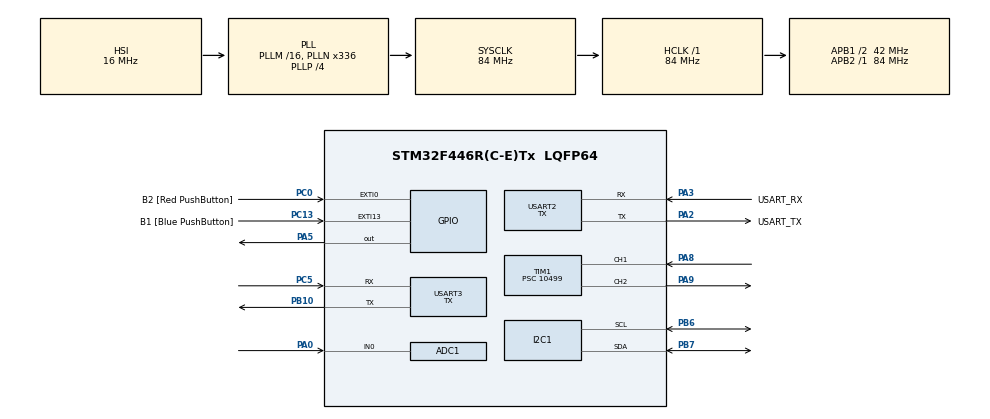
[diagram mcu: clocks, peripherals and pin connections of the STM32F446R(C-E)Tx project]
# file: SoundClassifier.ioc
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ADC1.Channel-0\#ChannelRegularConversion=ADC_CHANNEL_0
ADC1.ContinuousConvMode=DISABLE
ADC1.DMAContinuousRequests=ENABLE
ADC1.ExternalTrigConv=ADC_EXTERNALTRIGCONV_T1_CC2
ADC1.ExternalTrigConvEdge=ADC_EXTERNALTRIGCONVEDGE_RISING
ADC1.NbrOfConversion=1
ADC1.NbrOfConversionFlag=1
ADC1.Rank-0\#ChannelRegularConversion=1
ADC1.SamplingTime-0\#ChannelRegularConversion=ADC_SAMPLETIME_3CYCLES
ADC1.master=1
Dma.ADC1.0.Direction=DMA_PERIPH_TO_MEMORY
Dma.ADC1.0.FIFOMode=DMA_FIFOMODE_DISABLE
Dma.ADC1.0.Instance=DMA2_Stream4
Dma.ADC1.0.MemDataAlignment=DMA_MDATAALIGN_HALFWORD
Dma.ADC1.0.MemInc=DMA_MINC_ENABLE
Dma.ADC1.0.Mode=DMA_NORMAL
Dma.ADC1.0.PeriphDataAlignment=DMA_PDATAALIGN_HALFWORD
Dma.ADC1.0.PeriphInc=DMA_PINC_DISABLE
Dma.ADC1.0.Priority=DMA_PRIORITY_VERY_HIGH
Dma.Request0=ADC1
Dma.Request1=USART2_TX
Dma.Request2=USART3_TX
Dma.USART2_TX.1.Direction=DMA_MEMORY_TO_PERIPH
Dma.USART2_TX.1.FIFOMode=DMA_FIFOMODE_DISABLE
Dma.USART2_TX.1.Instance=DMA1_Stream6
Dma.USART2_TX.1.MemDataAlignment=DMA_MDATAALIGN_BYTE
Dma.USART2_TX.1.MemInc=DMA_MINC_ENABLE
Dma.USART2_TX.1.Mode=DMA_NORMAL
Dma.USART2_TX.1.PeriphDataAlignment=DMA_PDATAALIGN_BYTE
Dma.USART2_TX.1.PeriphInc=DMA_PINC_DISABLE
Dma.USART2_TX.1.Priority=DMA_PRIORITY_LOW
Dma.USART3_TX.2.Direction=DMA_MEMORY_TO_PERIPH
Dma.USART3_TX.2.FIFOMode=DMA_FIFOMODE_DISABLE
Dma.USART3_TX.2.Instance=DMA1_Stream3
Dma.USART3_TX.2.MemDataAlignment=DMA_MDATAALIGN_BYTE
Dma.USART3_TX.2.MemInc=DMA_MINC_ENABLE
Dma.USART3_TX.2.Mode=DMA_NORMAL
Dma.USART3_TX.2.PeriphDataAlignment=DMA_PDATAALIGN_BYTE
Dma.USART3_TX.2.PeriphInc=DMA_PINC_DISABLE
Dma.USART3_TX.2.Priority=DMA_PRIORITY_LOW
Mcu.Family=STM32F4
Mcu.Name=STM32F446R(C-E)Tx
Mcu.Package=LQFP64
NVIC.DMA1_Stream3_IRQn=true\:0\:0\:false\:false\:true\:false\:true\:true
NVIC.DMA1_Stream6_IRQn=true\:0\:0\:false\:false\:true\:false\:true\:true
NVIC.DMA2_Stream4_IRQn=true\:0\:0\:false\:false\:true\:false\:true\:true
NVIC.EXTI0_IRQn=true\:0\:0\:false\:false\:true\:true\:true\:true
NVIC.EXTI15_10_IRQn=true\:0\:0\:false\:false\:true\:true\:true\:true
NVIC.PriorityGroup=NVIC_PRIORITYGROUP_0
NVIC.TIM1_CC_IRQn=true\:0\:0\:false\:false\:true\:true\:true\:true
NVIC.USART2_IRQn=true\:0\:0\:false\:false\:true\:true\:true\:true
NVIC.USART3_IRQn=true\:0\:0\:false\:false\:true\:true\:true\:true
PA0-WKUP.Signal=ADCx_IN0
PA13.GPIO_Label=TMS
PA13.Mode=Serial_Wire
PA13.Signal=SYS_JTMS-SWDIO
PA14.GPIO_Label=TCK
PA14.Mode=Serial_Wire
PA14.Signal=SYS_JTCK-SWCLK
PA2.GPIO_Label=USART_TX
PA2.Mode=Asynchronous
PA2.Signal=USART2_TX
PA3.GPIO_Label=USART_RX
PA3.Mode=Asynchronous
PA3.Signal=USART2_RX
PA5.Signal=GPIO_Output
PA8.GPIO_PuPd=GPIO_NOPULL
PA8.Signal=S_TIM1_CH1
PA9.Signal=S_TIM1_CH2
PB10.GPIO_PuPd=GPIO_NOPULL
PB10.Mode=Asynchronous
PB10.Signal=USART3_TX
PB3.GPIO_Label=SWO
PB3.Signal=SYS_JTDO-SWO
PB6.Mode=I2C
PB6.Signal=I2C1_SCL
PB7.Mode=I2C
PB7.Signal=I2C1_SDA
PC0.GPIO_Label=B2 [Red PushButton]
PC0.GPIO_ModeDefaultEXTI=GPIO_MODE_IT_RISING_FALLING
PC0.GPIO_PuPd=GPIO_PULLUP
PC0.Signal=GPXTI0
PC13.GPIO_Label=B1 [Blue PushButton]
PC13.GPIO_ModeDefaultEXTI=GPIO_MODE_IT_FALLING
PC13.Signal=GPXTI13
PC14-OSC32_IN.Mode=LSE-External-Oscillator
PC14-OSC32_IN.Signal=RCC_OSC32_IN
PC15-OSC32_OUT.Mode=LSE-External-Oscillator
PC15-OSC32_OUT.Signal=RCC_OSC32_OUT
PC5.Mode=Asynchronous
PC5.Signal=USART3_RX
PH0-OSC_IN.Mode=HSE-External-Oscillator
PH0-OSC_IN.Signal=RCC_OSC_IN
PH1-OSC_OUT.Mode=HSE-External-Oscillator
PH1-OSC_OUT.Signal=RCC_OSC_OUT
ProjectManager.HeapSize=0x200
ProjectManager.StackSize=0x400
ProjectManager.TargetToolchain=STM32CubeIDE
RCC.48MHZClocksFreq_Value=84000000
RCC.AHBFreq_Value=84000000
RCC.APB1CLKDivider=RCC_HCLK_DIV2
RCC.APB1Freq_Value=42000000
RCC.APB1TimFreq_Value=84000000
RCC.APB2Freq_Value=84000000
RCC.APB2TimFreq_Value=84000000
RCC.CortexFreq_Value=84000000
RCC.FLatency-AdvancedSettings=FLASH_LATENCY_2
RCC.HCLKFreq_Value=84000000
RCC.HSE_VALUE=8000000
RCC.HSI_VALUE=16000000
RCC.PLLN=336
RCC.PLLP=RCC_PLLP_DIV4
RCC.SYSCLKFreq_VALUE=84000000
RCC.SYSCLKSource=RCC_SYSCLKSOURCE_PLLCLK
RCC.USBFreq_Value=168000000
RCC.VCOOutputFreq_Value=336000000
SH.ADCx_IN0.0=ADC1_IN0,IN0
SH.S_TIM1_CH1.0=TIM1_CH1,Input_Capture1_from_TI1
SH.S_TIM1_CH2.0=TIM1_CH2,Output Compare2 CH2
TIM1.Channel-Input_Capture1_from_TI1=TIM_CHANNEL_1
TIM1.Channel-Output\ Compare2\ CH2=TIM_CHANNEL_2
TIM1.ICFilter_CH1=15
TIM1.ICPolarity_CH1=TIM_INPUTCHANNELPOLARITY_FALLING
TIM1.OCMode_2=TIM_OCMODE_TOGGLE
TIM1.Period=1
TIM1.Prescaler=10499
TIM1.Pulse-Output\ Compare2\ CH2=1
TIM1.TIM_MasterOutputTrigger=TIM_TRGO_UPDATE
TIM1.TIM_MasterSlaveMode=TIM_MASTERSLAVEMODE_ENABLE
USART2.Mode=MODE_TX
USART2.VirtualMode=VM_ASYNC
USART3.Mode=MODE_TX
USART3.VirtualMode=VM_ASYNC
VP_TIM1_VS_ClockSourceINT.Mode=Internal
board=NUCLEO-F446RE

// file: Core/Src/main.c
/* USER CODE BEGIN Header */
/**
  ******************************************************************************
  * @file           : main.c
  * @brief          : Main program body
  ******************************************************************************
  * @attention
  *
  * Copyright (c) 2026 STMicroelectronics.
  * All rights reserved.
  *
  * This software is licensed under terms that can be found in the LICENSE file
  * in the root directory of this software component.
  * If no LICENSE file comes with this software, it is provided AS-IS.
  *
  ******************************************************************************
  */
/* USER CODE END Header */
#include "main.h"

/* USER CODE BEGIN Includes */

#include <stdint.h>
#include <stdio.h>
#include <stdlib.h>
#include <math.h>
#include <string.h>
#include "arm_math.h"
#include "classifier_tree.h"
#include "i2c_lcd.h"
/* USER CODE END Includes */

/* USER CODE BEGIN PD */

#define SAMPLE_BUFFER_SIZE 4096
#define SAMPLING_MESSAGE "Sampling has started.\r\n"
#define S_START_MESSAGE_LENGTH 23

#define INTERMEDIATE_MESSAGE "Sampling has ended.\r\nProcessing has started.\r\n"
#define INTER_MESSAGE_LENGTH 46

#define P_END_MESSAGE "Processing has ended.\r\n"
#define P_END_MESSAGE_LENGTH 23

#define ARM_MATH_CM4
#define SAMPLING_RATE 4000

#define LCD_ADDR (0x27 << 1)

/* USER CODE END PD */

ADC_HandleTypeDef hadc1;
DMA_HandleTypeDef hdma_adc1;

I2C_HandleTypeDef hi2c1;

TIM_HandleTypeDef htim1;

UART_HandleTypeDef huart2;
UART_HandleTypeDef huart3;
DMA_HandleTypeDef hdma_usart2_tx;
DMA_HandleTypeDef hdma_usart3_tx;

/* USER CODE BEGIN PV */

volatile int full = 0; // flag raised when sample buffer is full
volatile int sampling_started = 0; // flag prevents collisions from multiple button presses
volatile int collecting = 0; // flag switches between classifying and collecting mode
volatile int update_menu = 1; // flag shows update status for lcd display

uint16_t sample_buffer[SAMPLE_BUFFER_SIZE]; // holds raw samples
float centered_samples[SAMPLE_BUFFER_SIZE]; // holds samples after DC offset removal
float fft_output_arr[SAMPLE_BUFFER_SIZE]; // temp array needed for fft
float magnitude_arr[SAMPLE_BUFFER_SIZE / 2];

char helper_string[150]; // string used for packing features or storing predicted label

const char* classes[5] = {"bell", "clap", "door", "snap", "whistle"};

/* USER CODE END PV */

void SystemClock_Config(void);
static void MX_GPIO_Init(void);
static void MX_DMA_Init(void);
static void MX_USART2_UART_Init(void);
static void MX_ADC1_Init(void);
static void MX_TIM1_Init(void);
static void MX_USART3_UART_Init(void);
static void MX_I2C1_Init(void);

/* USER CODE BEGIN 0 */

// Sample buffer is full
void HAL_ADC_ConvCpltCallback(ADC_HandleTypeDef* hadc){
	if(hadc->Instance == ADC1){

		full = 1;

		sampling_started = 0;

		HAL_UART_Transmit_DMA(&huart2, (uint8_t*)INTERMEDIATE_MESSAGE, INTER_MESSAGE_LENGTH); // send intermediate notification
	}
}

// Blue button is pressed
void HAL_TIM_IC_CaptureCallback(TIM_HandleTypeDef* htim){
	if(htim->Instance == TIM1 && htim->Channel == HAL_TIM_ACTIVE_CHANNEL_1){

		if(!sampling_started){ // prevents data corruption

			sampling_started = 1;

			HAL_ADC_Start_DMA(&hadc1, (uint32_t*)sample_buffer, SAMPLE_BUFFER_SIZE); // re-arm DMA for ADC

			HAL_UART_Transmit_DMA(&huart2, (uint8_t*)SAMPLING_MESSAGE, S_START_MESSAGE_LENGTH); // send sampling start notification
		}
	}
}

// External switch is flipped
void HAL_GPIO_EXTI_Callback(uint16_t GPIO_Pin){
	if(GPIO_Pin == B2_Pin){

		collecting = !collecting; // switch modes

		update_menu = 1; // lcd must be updated
	}
}

/* USER CODE END 0 */

int main(void)
{

  /* MCU Configuration--------------------------------------------------------*/

  /* Reset of all peripherals, Initializes the Flash interface and the Systick. */
  HAL_Init();

  /* Configure the system clock */
  SystemClock_Config();

  /* Initialize all configured peripherals */
  MX_GPIO_Init();
  MX_DMA_Init();
  MX_USART2_UART_Init();
  MX_ADC1_Init();
  MX_TIM1_Init();
  MX_USART3_UART_Init();
  MX_I2C1_Init();
  /* USER CODE BEGIN 2 */

  // Point timer slave mode controller to TI1FP1
  TIM1->SMCR &= ~TIM_SMCR_TS; // clear old trigger source selection
  TIM1->SMCR |= (5 << TIM_SMCR_TS_Pos);

  // Set slave mode to trigger mode
  TIM1->SMCR &= ~TIM_SMCR_SMS; // clear old slave mode
  TIM1->SMCR |= (6 << TIM_SMCR_SMS_Pos);

  // Arm DMA for ADC
  HAL_ADC_Start_DMA(&hadc1, (uint32_t*)sample_buffer, SAMPLE_BUFFER_SIZE);

  // Arm timer 1 channels
  HAL_TIM_IC_Start_IT(&htim1, TIM_CHANNEL_1);
  HAL_TIM_OC_Start_IT(&htim1, TIM_CHANNEL_2);

  // Manually enable timer update interrupt
  __HAL_TIM_ENABLE_IT(&htim1, TIM_IT_UPDATE);

  // Initialize instance for fft calculation
  arm_rfft_fast_instance_f32 fft;
  arm_rfft_fast_init_f32(&fft, SAMPLE_BUFFER_SIZE);

  // Initialize LCD
  init();

  /* USER CODE END 2 */

  /* Infinite loop */
  /* USER CODE BEGIN WHILE */
  while (1)
  {
	  if(update_menu){ // update lcd display

		  LCD_SetupMenu(collecting);

		  update_menu = 0;
	  }

	  if(full == 1){ // can safely process samples

		  // Calculate DC offset
		  uint32_t sum = 0;

		  for (int i = 0; i < SAMPLE_BUFFER_SIZE; i++){
			  sum += sample_buffer[i];
		  }

		  uint16_t offset = sum / SAMPLE_BUFFER_SIZE;

		  for (int i = 0; i < SAMPLE_BUFFER_SIZE; i++){ // remove DC offset from each sample

			  centered_samples[i] = (float)(int32_t)sample_buffer[i] - offset; // cast for signed arithmetic
		  }

		  // Handle initial sample
		  float previous = centered_samples[0];
		  float energy = previous * previous;  // total energy
		  float peak = fabsf(previous); // peak amplitude
		  uint16_t inversions = 0; // used to calculate zero-crossing rate

		  for(int i = 1; i < SAMPLE_BUFFER_SIZE; i++){ // frame features calculation

			  float current = centered_samples[i];

			  // update energy
			  energy += current * current;

			  // update inversions
			  if((previous > 0 && current < 0) || (previous < 0 && current > 0)){ // a sign change occurs
				  inversions++;
			  }

			  // update peak amplitude
			  if(fabsf(current) > peak){
				  peak = fabsf(current);
			  }

			  previous = current;
		  }

		  float zcr = (float)inversions / SAMPLE_BUFFER_SIZE;

		  // Process fft (convert amplitude to frequency)
		  arm_rfft_fast_f32(&fft, centered_samples, fft_output_arr, 0); // do fft

		  uint32_t num_bins = SAMPLE_BUFFER_SIZE / 2;

		  arm_cmplx_mag_f32(fft_output_arr, magnitude_arr, num_bins); // calculate frequency magnitudes

		  float max_magnitude;
		  uint32_t max_bin;

		  arm_max_f32(magnitude_arr, num_bins, &max_magnitude, &max_bin); // get bin with greatest magnitude

		  float dominant_frequency = (max_bin * SAMPLING_RATE) / SAMPLE_BUFFER_SIZE;

		  // calculate sum of magnitudes and bins
		  float mag_sum = 0;
		  float bin_mag_sum = 0;

		  for(int i = 0; i < num_bins; i++){
			  mag_sum += magnitude_arr[i];
			  bin_mag_sum += (float)i * magnitude_arr[i];
		  }

		  // calculate spectral centroid
		  float average_bin = bin_mag_sum / mag_sum;
		  float spectral_centroid = (average_bin * SAMPLING_RATE) / SAMPLE_BUFFER_SIZE;

		  // calculate spectral bandwidth
		  bin_mag_sum = 0;
		  for(int i = 0; i < num_bins; i++){
			  float temp = (float)i - average_bin;
			  bin_mag_sum += (temp * temp) * magnitude_arr[i];
		  }

		  float spectral_bandwidth = (SAMPLING_RATE * sqrtf(bin_mag_sum / mag_sum)) / SAMPLE_BUFFER_SIZE;

		  if(!collecting){ // in classifying mode
			  float sample_features[6] = {energy, zcr, peak, dominant_frequency, spectral_centroid, spectral_bandwidth};
			  float class_probabilities[5];

			  classify_audio(sample_features, class_probabilities); // use decision tree to calculate probabilities

			  float best_prob = class_probabilities[0];
			  const char* classification = classes[0];

			  for(int i = 1; i < 5; i++){ // find class with highest probability
				  if(class_probabilities[i] > best_prob){
					  best_prob = class_probabilities[i];
					  classification = classes[i];
				  }
			  }

			  strncpy(helper_string, classification, sizeof(helper_string) - 1); // convert pointer to actual label

			  // Display classification
			  LCD_ClearLine(3);

			  if(classification == classes[4]){
				  LCD_SetCursor(3, 6);
			  }
			  else{
				  LCD_SetCursor(3, 8);
			  }
			  LCD_SendString(LCD_ADDR, classification);
		  }
		  else{ // in collecting mode
			  // calculate number of chars needed
			  int chars = snprintf(NULL, 0,
					  "%f,%f,%f,%f,%f, %f\r\n",
					  energy, zcr, peak, dominant_frequency, spectral_centroid, spectral_bandwidth);

			  // pack features into string
			  snprintf(helper_string, sizeof(helper_string), "%f,%f,%f,%f,%f, %f\r\n",
					  energy, zcr, peak, dominant_frequency, spectral_centroid, spectral_bandwidth);

			  HAL_UART_Transmit_DMA(&huart3, (uint8_t*)helper_string, chars); // transmit feature data
		  }

		  full = 0;

		  HAL_UART_Transmit_DMA(&huart2, (uint8_t*)P_END_MESSAGE, P_END_MESSAGE_LENGTH); // send processing end notification
	  }

    /* USER CODE END WHILE */

  }
}

void SystemClock_Config(void)
{
  RCC_OscInitTypeDef RCC_OscInitStruct = {0};
  RCC_ClkInitTypeDef RCC_ClkInitStruct = {0};

  /** Configure the main internal regulator output voltage
  */
  __HAL_RCC_PWR_CLK_ENABLE();
  __HAL_PWR_VOLTAGESCALING_CONFIG(PWR_REGULATOR_VOLTAGE_SCALE3);

  /** Initializes the RCC Oscillators according to the specified parameters
  * in the RCC_OscInitTypeDef structure.
  */
  RCC_OscInitStruct.OscillatorType = RCC_OSCILLATORTYPE_HSI;
  RCC_OscInitStruct.HSIState = RCC_HSI_ON;
  RCC_OscInitStruct.HSICalibrationValue = RCC_HSICALIBRATION_DEFAULT;
  RCC_OscInitStruct.PLL.PLLState = RCC_PLL_ON;
  RCC_OscInitStruct.PLL.PLLSource = RCC_PLLSOURCE_HSI;
  RCC_OscInitStruct.PLL.PLLM = 16;
  RCC_OscInitStruct.PLL.PLLN = 336;
  RCC_OscInitStruct.PLL.PLLP = RCC_PLLP_DIV4;
  RCC_OscInitStruct.PLL.PLLQ = 2;
  RCC_OscInitStruct.PLL.PLLR = 2;
  if (HAL_RCC_OscConfig(&RCC_OscInitStruct) != HAL_OK)
  {
    Error_Handler();
  }

  /** Initializes the CPU, AHB and APB buses clocks
  */
  RCC_ClkInitStruct.ClockType = RCC_CLOCKTYPE_HCLK|RCC_CLOCKTYPE_SYSCLK
                              |RCC_CLOCKTYPE_PCLK1|RCC_CLOCKTYPE_PCLK2;
  RCC_ClkInitStruct.SYSCLKSource = RCC_SYSCLKSOURCE_PLLCLK;
  RCC_ClkInitStruct.AHBCLKDivider = RCC_SYSCLK_DIV1;
  RCC_ClkInitStruct.APB1CLKDivider = RCC_HCLK_DIV2;
  RCC_ClkInitStruct.APB2CLKDivider = RCC_HCLK_DIV1;

  if (HAL_RCC_ClockConfig(&RCC_ClkInitStruct, FLASH_LATENCY_2) != HAL_OK)
  {
    Error_Handler();
  }
}

static void MX_ADC1_Init(void)
{

  ADC_ChannelConfTypeDef sConfig = {0};

  /** Configure the global features of the ADC (Clock, Resolution, Data Alignment and number of conversion)
  */
  hadc1.Instance = ADC1;
  hadc1.Init.ClockPrescaler = ADC_CLOCK_SYNC_PCLK_DIV4;
  hadc1.Init.Resolution = ADC_RESOLUTION_12B;
  hadc1.Init.ScanConvMode = DISABLE;
  hadc1.Init.ContinuousConvMode = DISABLE;
  hadc1.Init.DiscontinuousConvMode = DISABLE;
  hadc1.Init.ExternalTrigConvEdge = ADC_EXTERNALTRIGCONVEDGE_RISING;
  hadc1.Init.ExternalTrigConv = ADC_EXTERNALTRIGCONV_T1_CC2;
  hadc1.Init.DataAlign = ADC_DATAALIGN_RIGHT;
  hadc1.Init.NbrOfConversion = 1;
  hadc1.Init.DMAContinuousRequests = ENABLE;
  hadc1.Init.EOCSelection = ADC_EOC_SINGLE_CONV;
  if (HAL_ADC_Init(&hadc1) != HAL_OK)
  {
    Error_Handler();
  }

  /** Configure for the selected ADC regular channel its corresponding rank in the sequencer and its sample time.
  */
  sConfig.Channel = ADC_CHANNEL_0;
  sConfig.Rank = 1;
  sConfig.SamplingTime = ADC_SAMPLETIME_3CYCLES;
  if (HAL_ADC_ConfigChannel(&hadc1, &sConfig) != HAL_OK)
  {
    Error_Handler();
  }

}

static void MX_I2C1_Init(void)
{

  hi2c1.Instance = I2C1;
  hi2c1.Init.ClockSpeed = 100000;
  hi2c1.Init.DutyCycle = I2C_DUTYCYCLE_2;
  hi2c1.Init.OwnAddress1 = 0;
  hi2c1.Init.AddressingMode = I2C_ADDRESSINGMODE_7BIT;
  hi2c1.Init.DualAddressMode = I2C_DUALADDRESS_DISABLE;
  hi2c1.Init.OwnAddress2 = 0;
  hi2c1.Init.GeneralCallMode = I2C_GENERALCALL_DISABLE;
  hi2c1.Init.NoStretchMode = I2C_NOSTRETCH_DISABLE;
  if (HAL_I2C_Init(&hi2c1) != HAL_OK)
  {
    Error_Handler();
  }

}

static void MX_TIM1_Init(void)
{

  TIM_ClockConfigTypeDef sClockSourceConfig = {0};
  TIM_MasterConfigTypeDef sMasterConfig = {0};
  TIM_IC_InitTypeDef sConfigIC = {0};
  TIM_OC_InitTypeDef sConfigOC = {0};
  TIM_BreakDeadTimeConfigTypeDef sBreakDeadTimeConfig = {0};

  htim1.Instance = TIM1;
  htim1.Init.Prescaler = 10499;
  htim1.Init.CounterMode = TIM_COUNTERMODE_UP;
  htim1.Init.Period = 1;
  htim1.Init.ClockDivision = TIM_CLOCKDIVISION_DIV1;
  htim1.Init.RepetitionCounter = 0;
  htim1.Init.AutoReloadPreload = TIM_AUTORELOAD_PRELOAD_DISABLE;
  if (HAL_TIM_Base_Init(&htim1) != HAL_OK)
  {
    Error_Handler();
  }
  sClockSourceConfig.ClockSource = TIM_CLOCKSOURCE_INTERNAL;
  if (HAL_TIM_ConfigClockSource(&htim1, &sClockSourceConfig) != HAL_OK)
  {
    Error_Handler();
  }
  if (HAL_TIM_IC_Init(&htim1) != HAL_OK)
  {
    Error_Handler();
  }
  if (HAL_TIM_OC_Init(&htim1) != HAL_OK)
  {
    Error_Handler();
  }
  sMasterConfig.MasterOutputTrigger = TIM_TRGO_UPDATE;
  sMasterConfig.MasterSlaveMode = TIM_MASTERSLAVEMODE_ENABLE;
  if (HAL_TIMEx_MasterConfigSynchronization(&htim1, &sMasterConfig) != HAL_OK)
  {
    Error_Handler();
  }
  sConfigIC.ICPolarity = TIM_INPUTCHANNELPOLARITY_FALLING;
  sConfigIC.ICSelection = TIM_ICSELECTION_DIRECTTI;
  sConfigIC.ICPrescaler = TIM_ICPSC_DIV1;
  sConfigIC.ICFilter = 15;
  if (HAL_TIM_IC_ConfigChannel(&htim1, &sConfigIC, TIM_CHANNEL_1) != HAL_OK)
  {
    Error_Handler();
  }
  sConfigOC.OCMode = TIM_OCMODE_TOGGLE;
  sConfigOC.Pulse = 1;
  sConfigOC.OCPolarity = TIM_OCPOLARITY_HIGH;
  sConfigOC.OCNPolarity = TIM_OCNPOLARITY_HIGH;
  sConfigOC.OCFastMode = TIM_OCFAST_DISABLE;
  sConfigOC.OCIdleState = TIM_OCIDLESTATE_RESET;
  sConfigOC.OCNIdleState = TIM_OCNIDLESTATE_RESET;
  if (HAL_TIM_OC_ConfigChannel(&htim1, &sConfigOC, TIM_CHANNEL_2) != HAL_OK)
  {
    Error_Handler();
  }
  sBreakDeadTimeConfig.OffStateRunMode = TIM_OSSR_DISABLE;
  sBreakDeadTimeConfig.OffStateIDLEMode = TIM_OSSI_DISABLE;
  sBreakDeadTimeConfig.LockLevel = TIM_LOCKLEVEL_OFF;
  sBreakDeadTimeConfig.DeadTime = 0;
  sBreakDeadTimeConfig.BreakState = TIM_BREAK_DISABLE;
  sBreakDeadTimeConfig.BreakPolarity = TIM_BREAKPOLARITY_HIGH;
  sBreakDeadTimeConfig.AutomaticOutput = TIM_AUTOMATICOUTPUT_DISABLE;
  if (HAL_TIMEx_ConfigBreakDeadTime(&htim1, &sBreakDeadTimeConfig) != HAL_OK)
  {
    Error_Handler();
  }
  HAL_TIM_MspPostInit(&htim1);

}

static void MX_USART2_UART_Init(void)
{

  huart2.Instance = USART2;
  huart2.Init.BaudRate = 115200;
  huart2.Init.WordLength = UART_WORDLENGTH_8B;
  huart2.Init.StopBits = UART_STOPBITS_1;
  huart2.Init.Parity = UART_PARITY_NONE;
  huart2.Init.Mode = UART_MODE_TX;
  huart2.Init.HwFlowCtl = UART_HWCONTROL_NONE;
  huart2.Init.OverSampling = UART_OVERSAMPLING_16;
  if (HAL_UART_Init(&huart2) != HAL_OK)
  {
    Error_Handler();
  }

}

static void MX_USART3_UART_Init(void)
{

  huart3.Instance = USART3;
  huart3.Init.BaudRate = 115200;
  huart3.Init.WordLength = UART_WORDLENGTH_8B;
  huart3.Init.StopBits = UART_STOPBITS_1;
  huart3.Init.Parity = UART_PARITY_NONE;
  huart3.Init.Mode = UART_MODE_TX;
  huart3.Init.HwFlowCtl = UART_HWCONTROL_NONE;
  huart3.Init.OverSampling = UART_OVERSAMPLING_16;
  if (HAL_UART_Init(&huart3) != HAL_OK)
  {
    Error_Handler();
  }

}

static void MX_DMA_Init(void)
{

  /* DMA controller clock enable */
  __HAL_RCC_DMA2_CLK_ENABLE();
  __HAL_RCC_DMA1_CLK_ENABLE();

  /* DMA interrupt init */
  /* DMA1_Stream3_IRQn interrupt configuration */
  HAL_NVIC_SetPriority(DMA1_Stream3_IRQn, 0, 0);
  HAL_NVIC_EnableIRQ(DMA1_Stream3_IRQn);
  /* DMA1_Stream6_IRQn interrupt configuration */
  HAL_NVIC_SetPriority(DMA1_Stream6_IRQn, 0, 0);
  HAL_NVIC_EnableIRQ(DMA1_Stream6_IRQn);
  /* DMA2_Stream4_IRQn interrupt configuration */
  HAL_NVIC_SetPriority(DMA2_Stream4_IRQn, 0, 0);
  HAL_NVIC_EnableIRQ(DMA2_Stream4_IRQn);

}

static void MX_GPIO_Init(void)
{
  GPIO_InitTypeDef GPIO_InitStruct = {0};

  /* GPIO Ports Clock Enable */
  __HAL_RCC_GPIOC_CLK_ENABLE();
  __HAL_RCC_GPIOH_CLK_ENABLE();
  __HAL_RCC_GPIOA_CLK_ENABLE();
  __HAL_RCC_GPIOB_CLK_ENABLE();

  /*Configure GPIO pin Output Level */
  HAL_GPIO_WritePin(GPIOA, GPIO_PIN_5, GPIO_PIN_RESET);

  /*Configure GPIO pin : B1_Pin */
  GPIO_InitStruct.Pin = B1_Pin;
  GPIO_InitStruct.Mode = GPIO_MODE_IT_FALLING;
  GPIO_InitStruct.Pull = GPIO_NOPULL;
  HAL_GPIO_Init(B1_GPIO_Port, &GPIO_InitStruct);

  /*Configure GPIO pin : B2_Pin */
  GPIO_InitStruct.Pin = B2_Pin;
  GPIO_InitStruct.Mode = GPIO_MODE_IT_RISING_FALLING;
  GPIO_InitStruct.Pull = GPIO_PULLUP;
  HAL_GPIO_Init(B2_GPIO_Port, &GPIO_InitStruct);

  /*Configure GPIO pin : PA5 */
  GPIO_InitStruct.Pin = GPIO_PIN_5;
  GPIO_InitStruct.Mode = GPIO_MODE_OUTPUT_PP;
  GPIO_InitStruct.Pull = GPIO_NOPULL;
  GPIO_InitStruct.Speed = GPIO_SPEED_FREQ_LOW;
  HAL_GPIO_Init(GPIOA, &GPIO_InitStruct);

  /* EXTI interrupt init*/
  HAL_NVIC_SetPriority(EXTI0_IRQn, 0, 0);
  HAL_NVIC_EnableIRQ(EXTI0_IRQn);

  HAL_NVIC_SetPriority(EXTI15_10_IRQn, 0, 0);
  HAL_NVIC_EnableIRQ(EXTI15_10_IRQn);

}

void Error_Handler(void)
{
  __disable_irq();
  while (1)
  {
  }
}
